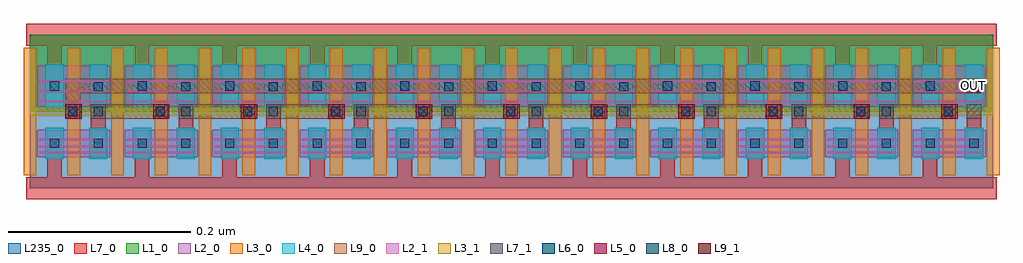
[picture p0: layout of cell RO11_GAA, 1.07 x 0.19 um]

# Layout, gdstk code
import gdstk
lib = gdstk.Library(unit=1e-6, precision=1e-09)
def R(c, l, rs):  # rectangles x0, y0, x1, y1
    for r in rs: c.add(gdstk.rectangle(r[:2], r[2:], *l))
def A(c, l, x, y, w, h, nx, ny, dx, dy):  # array of equal rectangles
    R(c, l, [(x+i*dx, y+j*dy, x+i*dx+w, y+j*dy+h) for i in range(nx) for j in range(ny)])
L1_0 = (1, 0)
L2_0 = (2, 0)
L2_1 = (2, 1)
L3_0 = (3, 0)
L3_1 = (3, 1)
L4_0 = (4, 0)
L5_0 = (5, 0)
L6_0 = (6, 0)
L7_0 = (7, 0)
L7_1 = (7, 1)
L8_0 = (8, 0)
L9_0 = (9, 0)
L9_1 = (9, 1)
L235_0 = (235, 0)

inv_gaa_x1 = lib.new_cell('INV_GAA_X1')
R(inv_gaa_x1, L1_0, [(0,0.084,0.096,0.168)])
R(inv_gaa_x1, L2_0, [(0.008,0.034,0.088,0.064), (0.008,0.089,0.088,0.134)])
A(inv_gaa_x1, L2_1, 0.01, 0.038, 0.076, 0.002, 1, 3, 0, 0.007)
A(inv_gaa_x1, L2_1, 0.01, 0.094, 0.076, 0.002, 1, 3, 0, 0.011)
A(inv_gaa_x1, L3_0, -0.007, 0.014, 0.014, 0.14, 3, 1, 0.048, 0)
R(inv_gaa_x1, L3_1, [(0,0.08,0.096,0.088)])
R(inv_gaa_x1, L4_0, [(0.017,0.032,0.037,0.066), (0.065,0.032,0.085,0.066), (0.017,0.087,0.037,0.136), (0.065,0.087,0.085,0.136)])
R(inv_gaa_x1, L5_0, [(0.039,0.076,0.057,0.092)])
R(inv_gaa_x1, L6_0, [(0.022,0.044,0.032,0.054), (0.07,0.044,0.08,0.054), (0.042,0.079,0.052,0.089), (0.07,0.106,0.08,0.116), (0.022,0.107,0.032,0.117)])
R(inv_gaa_x1, L7_0, [(-0.004,-0.012,0.1,0.012), (0.019,0,0.035,0.064), (0.067,0.034,0.083,0.134), (0.039,0.076,0.055,0.092), (0.019,0.104,0.035,0.168), (-0.004,0.156,0.1,0.18)])
R(inv_gaa_x1, L7_1, [(0.039,0.076,0.055,0.092), (0.067,0.076,0.083,0.092)])
R(inv_gaa_x1, L235_0, [(0,0,0.096,0.168)])
inv_gaa_x1.add(gdstk.Label('A', (0.047,0.084), layer=7, texttype=2))
inv_gaa_x1.add(gdstk.Label('Y', (0.075,0.084), layer=7, texttype=2))
inv_gaa_x1.add(gdstk.Label('VDD', (0.048,0.168), layer=7, texttype=2))
inv_gaa_x1.add(gdstk.Label('VSS', (0.048,0), layer=7, texttype=2))

ro11_gaa = lib.new_cell('RO11_GAA')
R(ro11_gaa, L8_0, [(0.042,0.079,0.052,0.089), (0.07,0.079,0.08,0.089), (0.138,0.079,0.148,0.089), (0.166,0.079,0.176,0.089), (0.234,0.079,0.244,0.089), (0.262,0.079,0.272,0.089), (0.33,0.079,0.34,0.089), (0.358,0.079,0.368,0.089), (0.426,0.079,0.436,0.089), (0.454,0.079,0.464,0.089), (0.522,0.079,0.532,0.089), (0.55,0.079,0.56,0.089), (0.618,0.079,0.628,0.089), (0.646,0.079,0.656,0.089), (0.714,0.079,0.724,0.089), (0.742,0.079,0.752,0.089), (0.81,0.079,0.82,0.089), (0.838,0.079,0.848,0.089), (0.906,0.079,0.916,0.089), (0.934,0.079,0.944,0.089), (1.002,0.079,1.012,0.089), (1.03,0.107,1.04,0.117)])
A(ro11_gaa, L9_0, 0.067, 0.076, 0.084, 0.016, 10, 1, 0.096, 0)
R(ro11_gaa, L9_0, [(0.039,0.076,0.055,0.12), (0.039,0.104,1.043,0.12)])
R(ro11_gaa, L9_1, [(1.027,0.104,1.043,0.12)])
R(ro11_gaa, L235_0, [(0,0,1.056,0.168)])
ro11_gaa.add(gdstk.Reference(inv_gaa_x1, (0,0)))
ro11_gaa.add(gdstk.Reference(inv_gaa_x1, (0.096,0)))
ro11_gaa.add(gdstk.Reference(inv_gaa_x1, (0.192,0)))
ro11_gaa.add(gdstk.Reference(inv_gaa_x1, (0.288,0)))
ro11_gaa.add(gdstk.Reference(inv_gaa_x1, (0.384,0)))
ro11_gaa.add(gdstk.Reference(inv_gaa_x1, (0.48,0)))
ro11_gaa.add(gdstk.Reference(inv_gaa_x1, (0.576,0)))
ro11_gaa.add(gdstk.Reference(inv_gaa_x1, (0.672,0)))
ro11_gaa.add(gdstk.Reference(inv_gaa_x1, (0.768,0)))
ro11_gaa.add(gdstk.Reference(inv_gaa_x1, (0.864,0)))
ro11_gaa.add(gdstk.Reference(inv_gaa_x1, (0.96,0)))
ro11_gaa.add(gdstk.Label('OUT', (1.035,0.112), layer=9, texttype=2))

lib.write_gds('RO11_GAA.gds')
